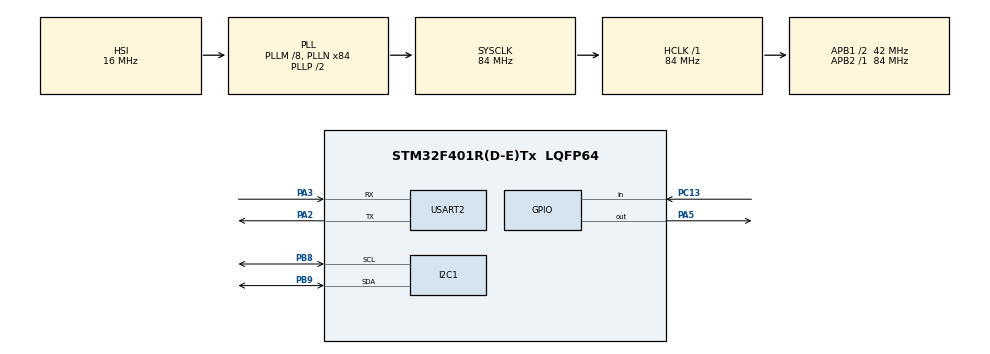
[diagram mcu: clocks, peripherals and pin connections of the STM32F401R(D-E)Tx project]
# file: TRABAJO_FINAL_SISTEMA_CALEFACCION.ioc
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Mcu.Family=STM32F4
Mcu.Name=STM32F401R(D-E)Tx
Mcu.Package=LQFP64
NVIC.PriorityGroup=NVIC_PRIORITYGROUP_4
NVIC.USART2_IRQn=true\:0\:0\:false\:false\:true\:true\:true\:true
PA2.Mode=Asynchronous
PA2.Signal=USART2_TX
PA3.Mode=Asynchronous
PA3.Signal=USART2_RX
PA5.Signal=GPIO_Output
PB8.Mode=I2C
PB8.Signal=I2C1_SCL
PB9.Mode=I2C
PB9.Signal=I2C1_SDA
PC13-ANTI_TAMP.Signal=GPIO_Input
PC14-OSC32_IN.Mode=LSE-External-Oscillator
PC14-OSC32_IN.Signal=RCC_OSC32_IN
PC15-OSC32_OUT.Mode=LSE-External-Oscillator
PC15-OSC32_OUT.Signal=RCC_OSC32_OUT
PH0\ -\ OSC_IN.Mode=HSE-External-Clock-Source
PH0\ -\ OSC_IN.Signal=RCC_OSC_IN
PH1\ -\ OSC_OUT.Mode=HSE-External-Clock-Source
PH1\ -\ OSC_OUT.Signal=RCC_OSC_OUT
ProjectManager.HeapSize=0x200
ProjectManager.StackSize=0x400
ProjectManager.TargetToolchain=STM32CubeIDE
RCC.48MHZClocksFreq_Value=42000000
RCC.AHBFreq_Value=84000000
RCC.APB1CLKDivider=RCC_HCLK_DIV2
RCC.APB1Freq_Value=42000000
RCC.APB1TimFreq_Value=84000000
RCC.APB2Freq_Value=84000000
RCC.APB2TimFreq_Value=84000000
RCC.CortexFreq_Value=84000000
RCC.HCLKFreq_Value=84000000
RCC.HSE_VALUE=25000000
RCC.HSI_VALUE=16000000
RCC.PLLM=8
RCC.PLLN=84
RCC.SYSCLKFreq_VALUE=84000000
RCC.SYSCLKSource=RCC_SYSCLKSOURCE_PLLCLK
RCC.VCOOutputFreq_Value=168000000
USART2.VirtualMode=VM_ASYNC
board=custom

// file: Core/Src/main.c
/* USER CODE BEGIN Header */
/**
  ******************************************************************************
  * @file           : main.c
  * @brief          : Main program body
  ******************************************************************************
  * @attention
  *
  * Copyright (c) 2023 STMicroelectronics.
  * All rights reserved.
  *
  * This software is licensed under terms that can be found in the LICENSE file
  * in the root directory of this software component.
  * If no LICENSE file comes with this software, it is provided AS-IS.
  *
  ******************************************************************************
  */
/* USER CODE END Header */
#include "main.h"

/* USER CODE BEGIN Includes */
#include "bmp280.h"
#include "BMP280_Funtion.h"
#include <API_delay.h>
#include "API_UART.h"

#include <stdint.h>
#include <stdio.h>
#include <stdbool.h>
#include <stdlib.h>
#include <string.h>
/* USER CODE END Includes */

I2C_HandleTypeDef hi2c1;

//UART_HandleTypeDef huart2;

/* USER CODE BEGIN PV */

extern UART_HandleTypeDef huart2;

/* USER CODE END PV */

void SystemClock_Config(void);
static void MX_GPIO_Init(void);
static void MX_I2C1_Init(void);
static void MX_USART2_UART_Init(void);

/* USER CODE BEGIN 0 */
static ReadSensor BUFFER_DATO;
delay_t DelayPrint;
UARTRead_t ReadUART;
/* USER CODE END 0 */

int main(void)
{

  /* MCU Configuration--------------------------------------------------------*/

  /* Reset of all peripherals, Initializes the Flash interface and the Systick. */
  HAL_Init();

  /* Configure the system clock */
  SystemClock_Config();

  /* Initialize all configured peripherals */
  MX_GPIO_Init();
  MX_I2C1_Init();
  MX_USART2_UART_Init();
  /* USER CODE BEGIN 2 */
   BMP_280_Init2(hi2c1);
  UART_Init2();
 delayInit(&DelayPrint, 500);
  /* USER CODE END 2 */

  /* Infinite loop */
  /* USER CODE BEGIN WHILE */

  while (1)
  {
	  ReadUART=UART_Read();

	  if(ReadUART.dato>25){
		  HAL_GPIO_WritePin(GPIOA, GPIO_PIN_5, RESET);
	  }
	  else {
	  HAL_GPIO_WritePin(GPIOA, GPIO_PIN_5, SET);}
//BUFFER_DATO=BMP_280_ConfigP0(hi2c1);
//if(delayRead(&DelayPrint))UART_TrasmitSensor(BUFFER_DATO);

//HAL_UART_Transmit(&huart2,(uint8_t *)ReadUART.dato, strlen (ReadUART.dato), HAL_MAX_DELAY);

/*
	  while (1){

	BUFFER_DATO=BMP_280_Read(hi2c1);
	 if(delayRead(&DelayPrint))
		 UART_TrasmitSensor(&huart2, BUFFER_DATO);
*/

		  /*

		  UARTRead_t A = UART_Read(&huart2);
		  BUFFER_DATO=BMP_280_Read(hi2c1);
		  UART_TrasmitSensor(huart2, BUFFER_DATO);

		  	  		HAL_Delay(1000);
		  	  		*/

    /* USER CODE END WHILE */

  }
}

void SystemClock_Config(void)
{
  RCC_OscInitTypeDef RCC_OscInitStruct = {0};
  RCC_ClkInitTypeDef RCC_ClkInitStruct = {0};

  /** Configure the main internal regulator output voltage
  */
  __HAL_RCC_PWR_CLK_ENABLE();
  __HAL_PWR_VOLTAGESCALING_CONFIG(PWR_REGULATOR_VOLTAGE_SCALE2);

  /** Initializes the RCC Oscillators according to the specified parameters
  * in the RCC_OscInitTypeDef structure.
  */
  RCC_OscInitStruct.OscillatorType = RCC_OSCILLATORTYPE_HSI;
  RCC_OscInitStruct.HSIState = RCC_HSI_ON;
  RCC_OscInitStruct.HSICalibrationValue = RCC_HSICALIBRATION_DEFAULT;
  RCC_OscInitStruct.PLL.PLLState = RCC_PLL_ON;
  RCC_OscInitStruct.PLL.PLLSource = RCC_PLLSOURCE_HSI;
  RCC_OscInitStruct.PLL.PLLM = 8;
  RCC_OscInitStruct.PLL.PLLN = 84;
  RCC_OscInitStruct.PLL.PLLP = RCC_PLLP_DIV2;
  RCC_OscInitStruct.PLL.PLLQ = 4;
  if (HAL_RCC_OscConfig(&RCC_OscInitStruct) != HAL_OK)
  {
    Error_Handler();
  }

  /** Initializes the CPU, AHB and APB buses clocks
  */
  RCC_ClkInitStruct.ClockType = RCC_CLOCKTYPE_HCLK|RCC_CLOCKTYPE_SYSCLK
                              |RCC_CLOCKTYPE_PCLK1|RCC_CLOCKTYPE_PCLK2;
  RCC_ClkInitStruct.SYSCLKSource = RCC_SYSCLKSOURCE_PLLCLK;
  RCC_ClkInitStruct.AHBCLKDivider = RCC_SYSCLK_DIV1;
  RCC_ClkInitStruct.APB1CLKDivider = RCC_HCLK_DIV2;
  RCC_ClkInitStruct.APB2CLKDivider = RCC_HCLK_DIV1;

  if (HAL_RCC_ClockConfig(&RCC_ClkInitStruct, FLASH_LATENCY_2) != HAL_OK)
  {
    Error_Handler();
  }
}

static void MX_I2C1_Init(void)
{

  hi2c1.Instance = I2C1;
  hi2c1.Init.ClockSpeed = 100000;
  hi2c1.Init.DutyCycle = I2C_DUTYCYCLE_2;
  hi2c1.Init.OwnAddress1 = 0;
  hi2c1.Init.AddressingMode = I2C_ADDRESSINGMODE_7BIT;
  hi2c1.Init.DualAddressMode = I2C_DUALADDRESS_DISABLE;
  hi2c1.Init.OwnAddress2 = 0;
  hi2c1.Init.GeneralCallMode = I2C_GENERALCALL_DISABLE;
  hi2c1.Init.NoStretchMode = I2C_NOSTRETCH_DISABLE;
  if (HAL_I2C_Init(&hi2c1) != HAL_OK)
  {
    Error_Handler();
  }

}

static void MX_USART2_UART_Init(void)
{

  huart2.Instance = USART2;
  huart2.Init.BaudRate = 115200;
  huart2.Init.WordLength = UART_WORDLENGTH_8B;
  huart2.Init.StopBits = UART_STOPBITS_1;
  huart2.Init.Parity = UART_PARITY_NONE;
  huart2.Init.Mode = UART_MODE_TX_RX;
  huart2.Init.HwFlowCtl = UART_HWCONTROL_NONE;
  huart2.Init.OverSampling = UART_OVERSAMPLING_16;
  if (HAL_UART_Init(&huart2) != HAL_OK)
  {
    Error_Handler();
  }

}

static void MX_GPIO_Init(void)
{
  GPIO_InitTypeDef GPIO_InitStruct = {0};

  /* GPIO Ports Clock Enable */
  __HAL_RCC_GPIOC_CLK_ENABLE();
  __HAL_RCC_GPIOH_CLK_ENABLE();
  __HAL_RCC_GPIOA_CLK_ENABLE();
  __HAL_RCC_GPIOB_CLK_ENABLE();

  /*Configure GPIO pin Output Level */
  HAL_GPIO_WritePin(GPIOA, GPIO_PIN_5, GPIO_PIN_RESET);

  /*Configure GPIO pin : PC13 */
  GPIO_InitStruct.Pin = GPIO_PIN_13;
  GPIO_InitStruct.Mode = GPIO_MODE_INPUT;
  GPIO_InitStruct.Pull = GPIO_NOPULL;
  HAL_GPIO_Init(GPIOC, &GPIO_InitStruct);

  /*Configure GPIO pin : PA5 */
  GPIO_InitStruct.Pin = GPIO_PIN_5;
  GPIO_InitStruct.Mode = GPIO_MODE_OUTPUT_PP;
  GPIO_InitStruct.Pull = GPIO_NOPULL;
  GPIO_InitStruct.Speed = GPIO_SPEED_FREQ_LOW;
  HAL_GPIO_Init(GPIOA, &GPIO_InitStruct);

}

void Error_Handler(void)
{
  __disable_irq();
  while (1)
  {
  }
}
